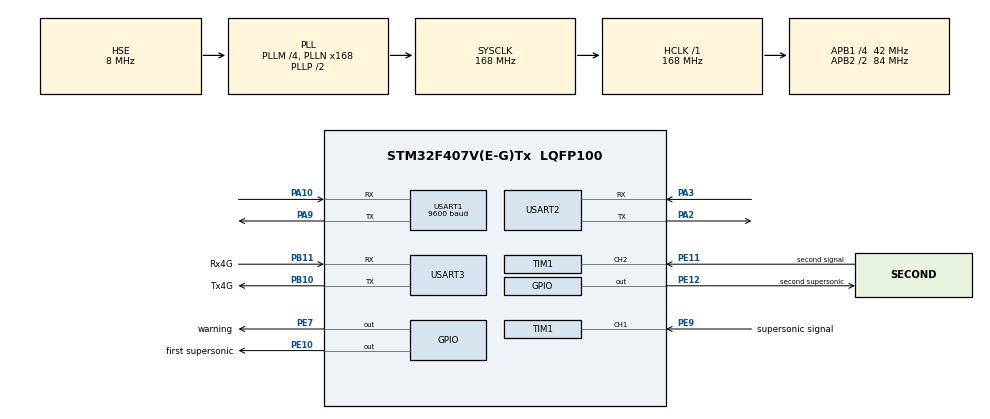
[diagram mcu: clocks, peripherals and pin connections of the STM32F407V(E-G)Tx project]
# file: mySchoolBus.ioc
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Mcu.Family=STM32F4
Mcu.Name=STM32F407V(E-G)Tx
Mcu.Package=LQFP100
NVIC.PriorityGroup=NVIC_PRIORITYGROUP_4
NVIC.TIM1_CC_IRQn=true\:0\:0\:false\:false\:true\:true\:true\:true
NVIC.USART1_IRQn=true\:0\:0\:false\:false\:true\:true\:true\:true
NVIC.USART2_IRQn=true\:0\:0\:false\:false\:true\:true\:true\:true
NVIC.USART3_IRQn=true\:0\:0\:false\:false\:true\:true\:true\:true
PA10.Mode=Asynchronous
PA10.Signal=USART1_RX
PA13.Mode=Serial_Wire
PA13.Signal=SYS_JTMS-SWDIO
PA14.Mode=Serial_Wire
PA14.Signal=SYS_JTCK-SWCLK
PA2.Mode=Asynchronous
PA2.Signal=USART2_TX
PA3.Mode=Asynchronous
PA3.Signal=USART2_RX
PA9.Mode=Asynchronous
PA9.Signal=USART1_TX
PB10.GPIO_Label=Tx4G
PB10.Mode=Asynchronous
PB10.Signal=USART3_TX
PB11.GPIO_Label=Rx4G
PB11.Mode=Asynchronous
PB11.Signal=USART3_RX
PC14-OSC32_IN.Mode=LSE-External-Oscillator
PC14-OSC32_IN.Signal=RCC_OSC32_IN
PC15-OSC32_OUT.Mode=LSE-External-Oscillator
PC15-OSC32_OUT.Signal=RCC_OSC32_OUT
PE10.GPIO_Label=first supersonic
PE10.GPIO_PuPd=GPIO_PULLDOWN
PE10.Signal=GPIO_Output
PE11.GPIO_Label=second signal
PE11.Signal=S_TIM1_CH2
PE12.GPIO_Label=second supersonic
PE12.GPIO_PuPd=GPIO_PULLDOWN
PE12.Signal=GPIO_Output
PE7.GPIO_Label=warning
PE7.GPIO_ModeDefaultOutputPP=GPIO_MODE_OUTPUT_PP
PE7.GPIO_PuPd=GPIO_PULLDOWN
PE7.Signal=GPIO_Output
PE9.GPIO_Label=supersonic signal
PE9.Signal=S_TIM1_CH1
PH0-OSC_IN.Mode=HSE-External-Oscillator
PH0-OSC_IN.Signal=RCC_OSC_IN
PH1-OSC_OUT.Mode=HSE-External-Oscillator
PH1-OSC_OUT.Signal=RCC_OSC_OUT
ProjectManager.HeapSize=0x200
ProjectManager.StackSize=0x400
ProjectManager.TargetToolchain=MDK-ARM V5.32
RCC.48MHZClocksFreq_Value=84000000
RCC.AHBFreq_Value=168000000
RCC.APB1CLKDivider=RCC_HCLK_DIV4
RCC.APB1Freq_Value=42000000
RCC.APB1TimFreq_Value=84000000
RCC.APB2CLKDivider=RCC_HCLK_DIV2
RCC.APB2Freq_Value=84000000
RCC.APB2TimFreq_Value=168000000
RCC.CortexFreq_Value=168000000
RCC.HCLKFreq_Value=168000000
RCC.HSE_VALUE=8000000
RCC.HSI_VALUE=16000000
RCC.PLLM=4
RCC.PLLN=168
RCC.PLLSourceVirtual=RCC_PLLSOURCE_HSE
RCC.SYSCLKFreq_VALUE=168000000
RCC.SYSCLKSource=RCC_SYSCLKSOURCE_PLLCLK
RCC.VCOOutputFreq_Value=336000000
SH.S_TIM1_CH1.0=TIM1_CH1,Input_Capture1_from_TI1
SH.S_TIM1_CH2.0=TIM1_CH2,Input_Capture2_from_TI2
TIM1.AutoReloadPreload=TIM_AUTORELOAD_PRELOAD_ENABLE
TIM1.Channel-Input_Capture1_from_TI1=TIM_CHANNEL_1
TIM1.Channel-Input_Capture2_from_TI2=TIM_CHANNEL_2
TIM1.Prescaler=167-1
USART1.BaudRate=9600
USART1.VirtualMode=VM_ASYNC
USART2.VirtualMode=VM_ASYNC
USART3.VirtualMode=VM_ASYNC
VP_TIM1_VS_ClockSourceINT.Mode=Internal
board=custom

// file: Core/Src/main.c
/* USER CODE BEGIN Header */
/**
  ******************************************************************************
  * @file           : main.c
  * @brief          : Main program body
  ******************************************************************************
  * @attention
  *
  * Copyright (c) 2024 STMicroelectronics.
  * All rights reserved.
  *
  * This software is licensed under terms that can be found in the LICENSE file
  * in the root directory of this software component.
  * If no LICENSE file comes with this software, it is provided AS-IS.
  *
  ******************************************************************************
  */
/* USER CODE END Header */
#include "main.h"
#include "tim.h"
#include "usart.h"
#include "gpio.h"

/* USER CODE BEGIN Includes */
#include "SR04.h"
#include "4G.h"

/* USER CODE END Includes */

void SystemClock_Config(void);

/* USER CODE BEGIN 0 */
int ret;
int ret1;
int ret2;
char get0[]="tes";
char get[]="get";
/* USER CODE END 0 */

int main(void)
{

  /* MCU Configuration--------------------------------------------------------*/

  /* Reset of all peripherals, Initializes the Flash interface and the Systick. */
  HAL_Init();

  /* Configure the system clock */
  SystemClock_Config();

  /* Initialize all configured peripherals */
  MX_GPIO_Init();
  MX_USART1_UART_Init();
  MX_USART2_UART_Init();
  MX_TIM1_Init();
  MX_USART3_UART_Init();
  /* USER CODE BEGIN 2 */
	HAL_Delay(1000);

	//nfc卡控制
	Net4GInit();

	HAL_Delay(1000);

  /* USER CODE END 2 */

  /* Infinite loop */
  /* USER CODE BEGIN WHILE */
  while (1)
  {

			GPS_Send();
			parseGpsBuffer();
			SR04_GetData();
//				HAL_UART_Transmit(&huart3,(uint8_t *)get,4,100);
			HAL_Delay(200);
			nfc_findCard();
//
			if(flag == 0 || flag == 1)
					intoBus();
			cardWarning();

    /* USER CODE END WHILE */

  }
}

void SystemClock_Config(void)
{
  RCC_OscInitTypeDef RCC_OscInitStruct = {0};
  RCC_ClkInitTypeDef RCC_ClkInitStruct = {0};

  /** Configure the main internal regulator output voltage
  */
  __HAL_RCC_PWR_CLK_ENABLE();
  __HAL_PWR_VOLTAGESCALING_CONFIG(PWR_REGULATOR_VOLTAGE_SCALE1);

  /** Initializes the RCC Oscillators according to the specified parameters
  * in the RCC_OscInitTypeDef structure.
  */
  RCC_OscInitStruct.OscillatorType = RCC_OSCILLATORTYPE_HSE;
  RCC_OscInitStruct.HSEState = RCC_HSE_ON;
  RCC_OscInitStruct.PLL.PLLState = RCC_PLL_ON;
  RCC_OscInitStruct.PLL.PLLSource = RCC_PLLSOURCE_HSE;
  RCC_OscInitStruct.PLL.PLLM = 4;
  RCC_OscInitStruct.PLL.PLLN = 168;
  RCC_OscInitStruct.PLL.PLLP = RCC_PLLP_DIV2;
  RCC_OscInitStruct.PLL.PLLQ = 4;
  if (HAL_RCC_OscConfig(&RCC_OscInitStruct) != HAL_OK)
  {
    Error_Handler();
  }

  /** Initializes the CPU, AHB and APB buses clocks
  */
  RCC_ClkInitStruct.ClockType = RCC_CLOCKTYPE_HCLK|RCC_CLOCKTYPE_SYSCLK
                              |RCC_CLOCKTYPE_PCLK1|RCC_CLOCKTYPE_PCLK2;
  RCC_ClkInitStruct.SYSCLKSource = RCC_SYSCLKSOURCE_PLLCLK;
  RCC_ClkInitStruct.AHBCLKDivider = RCC_SYSCLK_DIV1;
  RCC_ClkInitStruct.APB1CLKDivider = RCC_HCLK_DIV4;
  RCC_ClkInitStruct.APB2CLKDivider = RCC_HCLK_DIV2;

  if (HAL_RCC_ClockConfig(&RCC_ClkInitStruct, FLASH_LATENCY_5) != HAL_OK)
  {
    Error_Handler();
  }
}

void Error_Handler(void)
{
  __disable_irq();
  while (1)
  {
  }
}
